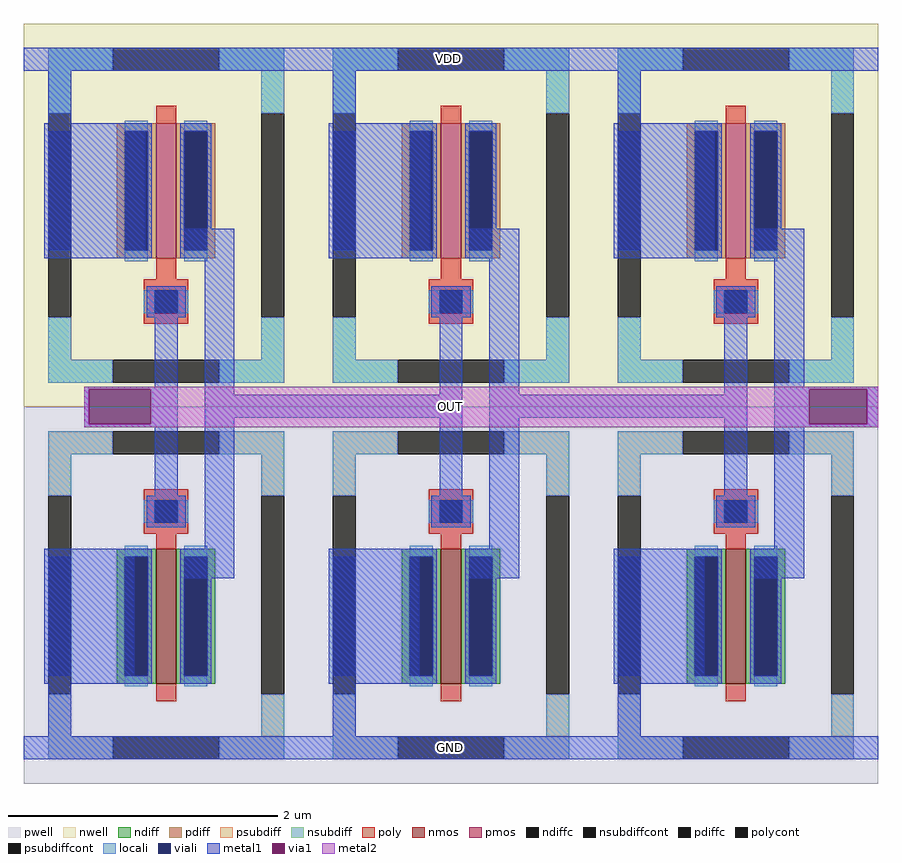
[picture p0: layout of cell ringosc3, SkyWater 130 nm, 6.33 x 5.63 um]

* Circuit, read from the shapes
.subckt ringosc3 VDD GND OUT
XM1 x2/IN OUT GND GND sky130_fd_pr__nfet_01v8 w=1 l=0.15
XM2 x3/IN x2/IN GND GND sky130_fd_pr__nfet_01v8 w=1 l=0.15
XM3 OUT x3/IN GND GND sky130_fd_pr__nfet_01v8 w=1 l=0.15
XM4 x2/IN OUT VDD VDD sky130_fd_pr__pfet_01v8 w=1 l=0.15
XM5 x3/IN x2/IN VDD VDD sky130_fd_pr__pfet_01v8 w=1 l=0.15
XM6 OUT x3/IN VDD VDD sky130_fd_pr__pfet_01v8 w=1 l=0.15
.ends

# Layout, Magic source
magic
tech sky130A
<< metal1 >>
rect 0 528 633 545
rect 18 389 35 528
rect 229 389 246 528
rect 440 389 457 528
rect 45 292 97 294
rect 45 266 48 292
rect 94 266 97 292
rect 556 292 633 294
rect 134 271 325 288
rect 345 271 536 288
rect 45 264 97 266
rect 556 266 582 292
rect 625 266 633 292
rect 556 264 633 266
rect 18 35 35 174
rect 229 35 246 174
rect 440 35 457 174
rect 0 18 633 35
<< via1 >>
rect 48 266 94 292
rect 582 266 625 292
<< metal2 >>
rect 45 292 633 294
rect 45 266 48 292
rect 94 266 582 292
rect 625 266 633 292
rect 45 264 633 266
use inverter1  x1
transform 1 0 -158 0 1 932
box 158 -932 369 -369
use inverter1  x2
transform 1 0 53 0 1 932
box 158 -932 369 -369
use inverter1  x3
transform 1 0 264 0 1 932
box 158 -932 369 -369
<< labels >>
flabel metal1 316 27 316 27 0 FreeSans 80 0 0 0 GND
port 1 nsew
flabel metal2 316 279 316 279 0 FreeSans 80 0 0 0 OUT
port 2 nsew
flabel metal1 315 537 315 537 0 FreeSans 80 0 0 0 VDD
port 0 nsew
<< end >>

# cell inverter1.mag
magic
tech sky130A
magscale 1 2
<< viali >>
rect 352 -1074 386 -898
rect 352 -1704 386 -1528
<< metal1 >>
rect 346 -898 496 -886
rect 346 -1074 352 -898
rect 386 -1074 496 -898
rect 346 -1086 496 -1074
rect 554 -1086 628 -1042
rect 510 -1478 544 -1132
rect 584 -1516 628 -1086
rect 346 -1528 480 -1516
rect 346 -1704 352 -1528
rect 386 -1704 480 -1528
rect 548 -1560 628 -1516
rect 346 -1716 480 -1704
use sky130_fd_pr__nfet_01v8_64Z3AY  XM1
transform 1 0 527 0 1 -1585
box -211 -279 211 279
use sky130_fd_pr__pfet_01v8_LGS3BL  XM2
transform 1 0 527 0 1 -1022
box -211 -284 211 284
<< labels >>
flabel metal1 394 -980 394 -980 0 FreeSans 160 0 0 0 VDD
port 0 nsew
flabel metal1 392 -1612 392 -1612 0 FreeSans 160 0 0 0 GND
port 1 nsew
flabel metal1 606 -1306 606 -1306 0 FreeSans 160 0 0 0 OUT
port 2 nsew
flabel metal1 528 -1306 528 -1306 0 FreeSans 160 0 0 0 IN
port 3 nsew
<< end >>

# cell sky130_fd_pr__nfet_01v8_64Z3AY: kit device sky130_fd_pr__nfet_01v8, w 1.0 l 0.15 m 1 nf 1 diffcov 100 polycov 100 guard 1 glc 1 grc 1 gtc 1 gbc 1 tbcov 100 rlcov 100 topc 1 botc 0 poverlap 0 doverlap 1 lmin 0.15 wmin 0.42 compatible {sky130_fd_pr__nfet_01v8 sky130_fd_pr__nfet_01v8_lvt sky130_fd_bs_flash__special_sonosfet_star sky130_fd_pr__nfet_g5v0d10v5 sky130_fd_pr__nfet_05v0_nvt sky130_fd_pr__nfet_03v3_nvt} full_metal 1 viasrc 100 viadrn 100 viagate 100 viagb 0 viagr 0 viagl 0 viagt 0

# cell sky130_fd_pr__pfet_01v8_LGS3BL: kit device sky130_fd_pr__pfet_01v8, w 1.0 l 0.15 m 1 nf 1 diffcov 100 polycov 100 guard 1 glc 1 grc 1 gtc 1 gbc 1 tbcov 100 rlcov 100 topc 0 botc 1 poverlap 0 doverlap 1 lmin 0.15 wmin 0.42 compatible {sky130_fd_pr__pfet_01v8 sky130_fd_pr__pfet_01v8_lvt sky130_fd_pr__pfet_01v8_hvt sky130_fd_pr__pfet_g5v0d10v5} full_metal 1 viasrc 100 viadrn 100 viagate 100 viagb 0 viagr 0 viagl 0 viagt 0
